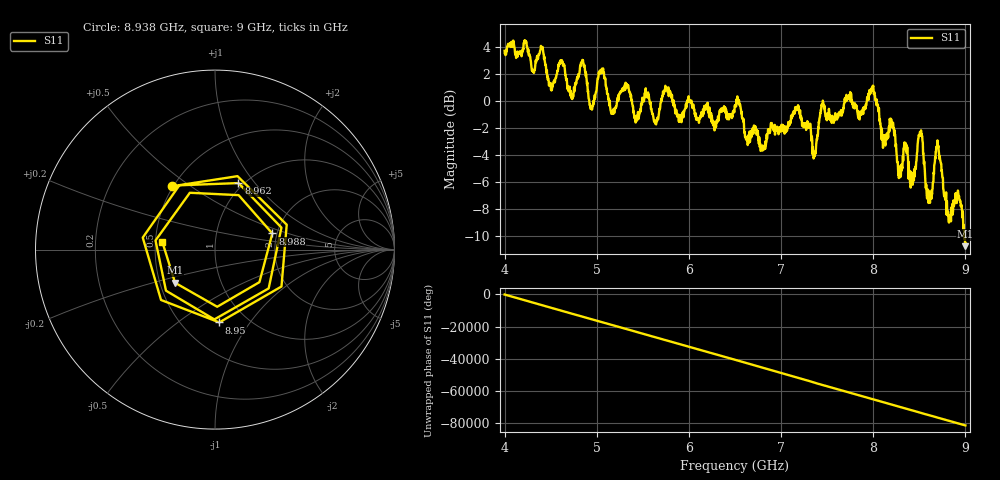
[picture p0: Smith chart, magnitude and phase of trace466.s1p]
! Created with skrf 1.8.0 (http://scikit-rf.org).
# Hz S RI R 50.0
!freq ReS11 ImS11
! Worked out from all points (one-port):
!   1601 points, 4 GHz to 9 GHz, reference 50 ohm
!   lowest |S11| = -10.8 dB at 8.997 GHz (marker M1), VSWR 1.81, Z = 30 - j12.1 ohm
!   |S11| at or under -10 dB: 8.989851 GHz to 8.993376 GHz (3.524 MHz wide, 0.0392 % of centre); 8.994243 GHz to end of sweep
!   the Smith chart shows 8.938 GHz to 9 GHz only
!   S11 on the Smith chart (normalised r, x): 8.938 GHz: 0.49, +0.42; 8.95 GHz: 0.75, -0.73; 8.962 GHz: 0.95, +0.83; 8.988 GHz: 1.89, +0.38; 9 GHz: 0.54, +0.05
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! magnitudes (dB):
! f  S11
! 4 GHz  3.7
! 4.625 GHz  2.9
! 4.725 GHz  0.2
! 4.853 GHz  2.8
! 4.941 GHz  -0.4
! 5.047 GHz  2.1
! 5.169 GHz  -0.9
! 5.25 GHz  0.5
! 5.875 GHz  -1.2
! 6.5 GHz  -0.4
! 6.803 GHz  -3.7
! 7.125 GHz  -1.1
! 7.366 GHz  -4.1
! 7.447 GHz  -0.2
! 7.75 GHz  0.6
! 7.994 GHz  1.1
! 8.284 GHz  -4.9
! 8.375 GHz  -4.0
! 8.512 GHz  -2.6
! 8.606 GHz  -7.2
! 8.697 GHz  -2.9
! 8.819 GHz  -8.9
! 8.938 GHz  -7.4
! 8.95 GHz  -7.8
! 8.962 GHz  -8.1
! 8.988 GHz  -9.6
! 8.997 GHz  -10.8
! 9 GHz  -10.6
